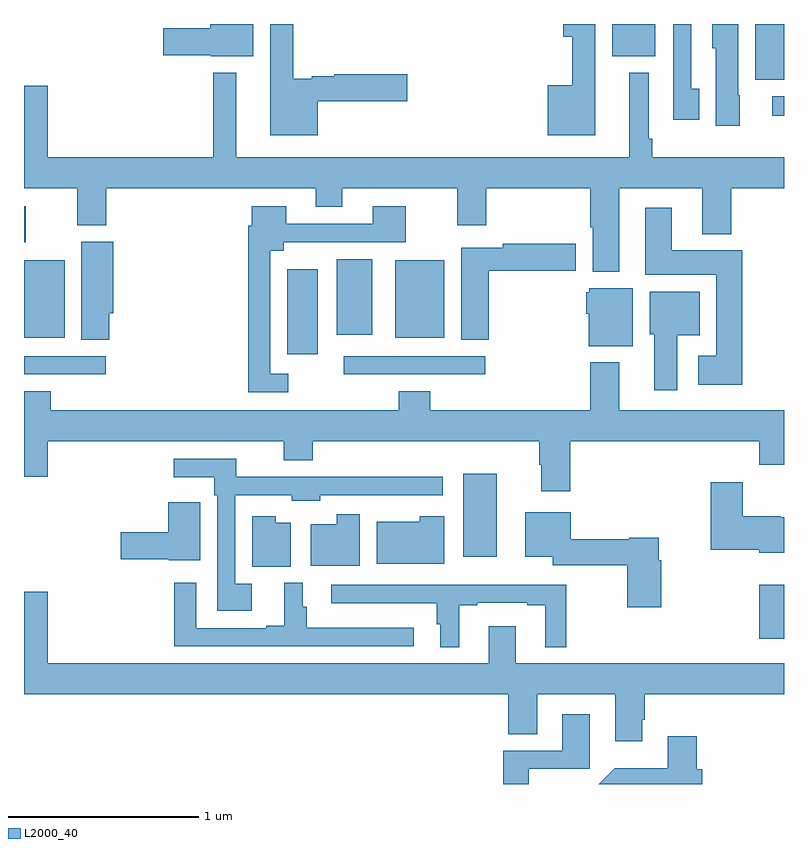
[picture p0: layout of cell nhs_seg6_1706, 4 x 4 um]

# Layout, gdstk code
import gdstk
lib = gdstk.Library(unit=1e-6, precision=1e-09)
def R(c, l, rs):  # rectangles x0, y0, x1, y1
    for r in rs: c.add(gdstk.rectangle(r[:2], r[2:], *l))
def P(c, l, *ps):  # polygons
    for p in ps: c.add(gdstk.Polygon(p, *l))
L2000_40 = (2000, 40)

nhs_seg6_1706 = lib.new_cell('nhs_seg6_1706')
R(nhs_seg6_1706, L2000_40, [(216.869,978.264,217,978.55), (215.312,978.695,215.488,979.132), (213,979.656,213.43,979.752), (214.683,979.656,215.428,979.752), (214.385,979.761,214.546,980.209), (213,979.85,213.214,980.257), (214.955,979.85,215.212,980.257), (214.646,979.865,214.834,980.263), (213,980.352,213.01,980.542), (216.939,981.018,217,981.12), (216.848,981.207,217,981.5), (216.095,981.329,216.322,981.5)])
P(nhs_seg6_1706, L2000_40, [(216.553,981.158),(216.513,981.158),(216.513,981.5),(216.417,981.5),(216.417,980.997),(216.553,980.997)],
  [(216.007,981.5),(215.837,981.5),(215.837,981.434),(215.886,981.434),(215.886,981.178),(215.756,981.178),(215.756,980.915),(216.007,980.915)],
  [(216.766,981.126),(216.76,981.126),(216.76,981.5),(216.623,981.5),(216.623,981.372),(216.641,981.372),(216.641,980.964),(216.766,980.964)],
  [(214.546,981.094),(215.017,981.094),(215.017,981.236),(214.632,981.236),(214.632,981.224),(214.514,981.224),(214.514,981.211),(214.417,981.211),(214.417,981.5),(214.295,981.5),(214.295,980.915),(214.546,980.915)],
  [(214.207,981.5),(213.98,981.5),(213.98,981.477),(213.732,981.477),(213.732,981.335),(213.984,981.335),(213.984,981.329),(214.207,981.329)],
  [(216.133,980.636),(216.569,980.636),(216.569,980.393),(216.722,980.393),(216.722,980.636),(217,980.636),(217,980.8),(216.307,980.8),(216.307,980.896),(216.289,980.896),(216.289,981.244),(216.185,981.244),(216.185,980.8),(214.117,980.8),(214.117,981.244),(213.996,981.244),(213.996,980.8),(213.124,980.8),(213.124,981.175),(213,981.175),(213,980.636),(213.281,980.636),(213.281,980.442),(213.434,980.442),(213.434,980.636),(214.535,980.636),(214.535,980.537),(214.675,980.537),(214.675,980.636),(215.279,980.636),(215.279,980.442),(215.432,980.442),(215.432,980.636),(215.981,980.636),(215.981,980.431),(215.993,980.431),(215.993,980.195),(216.133,980.195)],
  [(214.39,979.659),(214.296,979.659),(214.296,980.306),(214.366,980.306),(214.366,980.352),(215.008,980.352),(215.008,980.542),(214.835,980.542),(214.835,980.448),(214.381,980.448),(214.381,980.542),(214.199,980.542),(214.199,980.438),(214.18,980.438),(214.18,979.563),(214.39,979.563)],
  [(216.779,980.308),(216.409,980.308),(216.409,980.533),(216.269,980.533),(216.269,980.18),(216.644,980.18),(216.644,979.753),(216.549,979.753),(216.549,979.601),(216.779,979.601)],
  [(213.449,979.977),(213.47,979.977),(213.47,980.353),(213.302,980.353),(213.302,979.837),(213.449,979.837)],
  [(215.447,980.201),(215.905,980.201),(215.905,980.343),(215.52,980.343),(215.52,980.323),(215.3,980.323),(215.3,979.837),(215.447,979.837)],
  [(216.205,980.11),(215.976,980.11),(215.976,980.088),(215.96,980.088),(215.96,979.974),(215.972,979.974),(215.972,979.805),(216.205,979.805)],
  [(216.439,979.862),(216.556,979.862),(216.556,980.092),(216.293,980.092),(216.293,979.866),(216.317,979.866),(216.317,979.572),(216.439,979.572)],
  [(215.876,979.304),(216.869,979.304),(216.869,979.18),(217,979.18),(217,979.468),(216.133,979.468),(216.133,979.72),(215.981,979.72),(215.981,979.468),(215.138,979.468),(215.138,979.567),(214.973,979.567),(214.973,979.468),(213.14,979.468),(213.14,979.567),(213,979.567),(213,979.116),(213.124,979.116),(213.124,979.304),(214.367,979.304),(214.367,979.205),(214.52,979.205),(214.52,979.304),(215.711,979.304),(215.711,979.181),(215.723,979.181),(215.723,979.041),(215.876,979.041)],
  [(214.198,978.553),(214.113,978.553),(214.113,979.02),(214.41,979.02),(214.41,978.992),(214.56,978.992),(214.56,979.02),(214.864,979.02),(214.864,979.019),(215.203,979.019),(215.203,979.118),(214.116,979.118),(214.116,979.212),(213.789,979.212),(213.789,979.115),(214.001,979.115),(214.001,979.019),(214.017,979.019),(214.017,978.413),(214.198,978.413)],
  [(217,978.904),(216.984,978.904),(216.984,978.91),(216.784,978.91),(216.784,979.087),(216.614,979.087),(216.614,978.734),(216.87,978.734),(216.87,978.716),(217,978.716)],
  [(213.928,978.881),(213.927,978.881),(213.927,978.984),(213.758,978.984),(213.758,978.825),(213.51,978.825),(213.51,978.683),(213.762,978.683),(213.762,978.677),(213.928,978.677)],
  [(216.353,978.677),(216.34,978.677),(216.34,978.796),(216.186,978.796),(216.186,978.788),(215.878,978.788),(215.878,978.931),(215.639,978.931),(215.639,978.695),(215.784,978.695),(215.784,978.652),(216.175,978.652),(216.175,978.429),(216.353,978.429)],
  [(214.768,978.919),(214.646,978.919),(214.646,978.868),(214.508,978.868),(214.508,978.65),(214.768,978.65)],
  [(214.405,978.874),(214.324,978.874),(214.324,978.91),(214.202,978.91),(214.202,978.644),(214.405,978.644)],
  [(215.212,978.91),(215.083,978.91),(215.083,978.88),(214.856,978.88),(214.856,978.659),(215.212,978.659)],
  [(215.05,978.322),(214.487,978.322),(214.487,978.432),(214.468,978.432),(214.468,978.559),(214.37,978.559),(214.37,978.334),(214.274,978.334),(214.274,978.321),(213.906,978.321),(213.906,978.559),(213.79,978.559),(213.79,978.225),(215.05,978.225)],
  [(215.29,978.441),(215.386,978.441),(215.386,978.453),(215.648,978.453),(215.648,978.441),(215.744,978.441),(215.744,978.221),(215.854,978.221),(215.854,978.55),(215.316,978.55),(215.316,978.549),(214.617,978.549),(214.617,978.452),(215.173,978.452),(215.173,978.342),(215.192,978.342),(215.192,978.221),(215.29,978.221)],
  [(216.253,977.839),(216.266,977.839),(216.266,977.972),(217,977.972),(217,978.136),(215.587,978.136),(215.587,978.331),(215.447,978.331),(215.447,978.136),(213.124,978.136),(213.124,978.511),(213,978.511),(213,977.972),(215.549,977.972),(215.549,977.761),(215.701,977.761),(215.701,977.972),(216.113,977.972),(216.113,977.724),(216.253,977.724)],
  [(215.656,977.58),(215.977,977.58),(215.977,977.866),(215.834,977.866),(215.834,977.676),(215.522,977.676),(215.522,977.5),(215.656,977.5)],
  [(216.569,977.577),(216.542,977.577),(216.542,977.752),(216.389,977.752),(216.389,977.584),(216.109,977.584),(216.025,977.5),(216.569,977.5)])

lib.write_gds('nhs_seg6_1706.gds')
